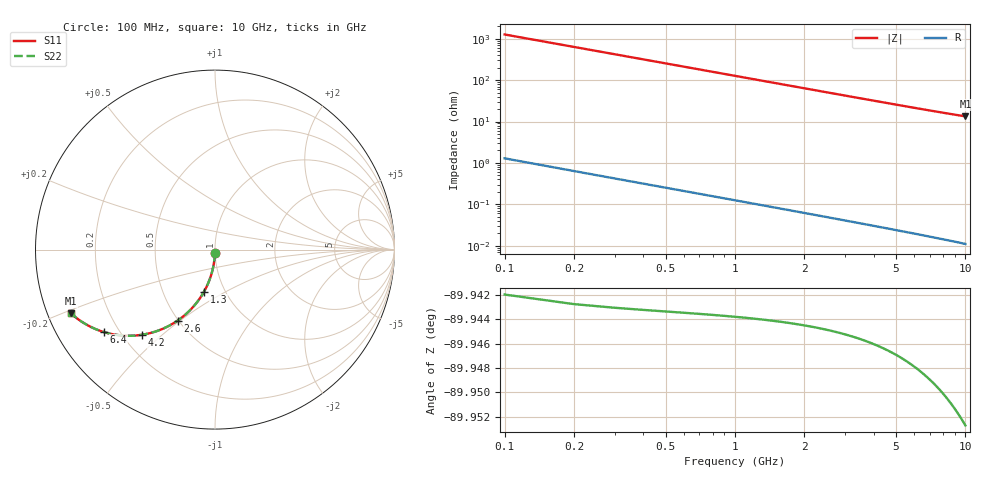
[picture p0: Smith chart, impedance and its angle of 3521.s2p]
# Hz S RI R 50.00
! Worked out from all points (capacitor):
!   100 points, 100 MHz to 10 GHz, reference 50 ohm
!   read as one part in shunt: C = 1.25 pF near 100 MHz
!   lowest |Z| = 13.3 ohm at 10 GHz (marker M1)
!   S11 on the Smith chart (normalised r, x): 100 MHz: 1.00, -0.04; 1.3 GHz: 0.80, -0.40; 2.6 GHz: 0.50, -0.49; 4.2 GHz: 0.27, -0.43; 6.4 GHz: 0.14, -0.32; 10 GHz: 0.07, -0.21
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1e8  -0.000335 -0.0192  0.9995 -0.02  0.9995 -0.02  -0.000335 -0.0192
2e8  -0.00151 -0.0384  0.9984 -0.04  0.9984 -0.04  -0.00151 -0.0384
3e8  -0.00344 -0.0575  0.9964 -0.0598  0.9964 -0.0598  -0.00344 -0.0575
4e8  -0.00613 -0.0765  0.9937 -0.0796  0.9937 -0.0796  -0.00613 -0.0765
5e8  -0.00957 -0.0953  0.9903 -0.0991  0.9903 -0.0991  -0.00957 -0.0953
6e8  -0.0137 -0.1139  0.9861 -0.1185  0.9861 -0.1185  -0.0137 -0.1139
7e8  -0.0186 -0.1322  0.9812 -0.1376  0.9812 -0.1376  -0.0186 -0.1322
8e8  -0.0242 -0.1502  0.9757 -0.1564  0.9757 -0.1564  -0.0242 -0.1502
1e9  -0.0373 -0.1852  0.9626 -0.193  0.9626 -0.193  -0.0373 -0.1852
1.3e9  -0.0614 -0.2347  0.9384 -0.2448  0.9384 -0.2448  -0.0614 -0.2347
1.5e9  -0.0802 -0.2654  0.9196 -0.277  0.9196 -0.277  -0.0802 -0.2654
1.8e9  -0.1116 -0.3075  0.8882 -0.3215  0.8882 -0.3215  -0.1116 -0.3075
2.2e9  -0.1582 -0.356  0.8415 -0.3731  0.8415 -0.3731  -0.1582 -0.356
2.6e9  -0.2081 -0.3955  0.7915 -0.4157  0.7915 -0.4157  -0.2081 -0.3955
3.4e9  -0.3109 -0.4492  0.6886 -0.4757  0.6886 -0.4757  -0.3109 -0.4492
4.2e9  -0.4087 -0.4747  0.5906 -0.5077  0.5906 -0.5077  -0.4087 -0.4747
5.1e9  -0.5061 -0.4793  0.4929 -0.5196  0.4929 -0.5196  -0.5061 -0.4793
6.4e9  -0.6194 -0.4593  0.3791 -0.5104  0.3791 -0.5104  -0.6194 -0.4593
6.7e9  -0.6413 -0.4521  0.3571 -0.5057  0.3571 -0.5057  -0.6413 -0.4521
7.5e9  -0.6925 -0.4303  0.3055 -0.4907  0.3055 -0.4907  -0.6925 -0.4303
8.4e9  -0.7399 -0.4034  0.2576 -0.4716  0.2576 -0.4716  -0.7399 -0.4034
1e10  -0.8031 -0.3545  0.1933 -0.4369  0.1933 -0.4369  -0.8031 -0.3545
